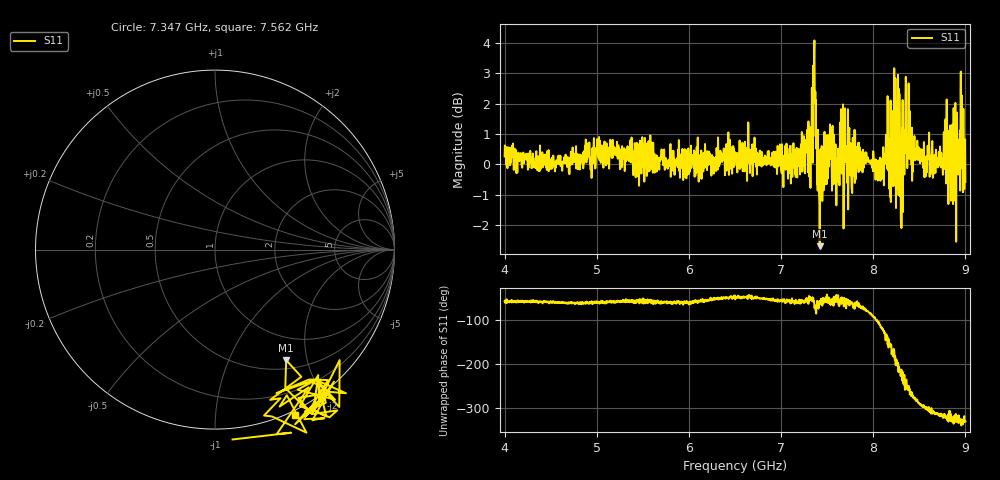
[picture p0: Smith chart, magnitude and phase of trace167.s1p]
! Created with skrf 1.8.0 (http://scikit-rf.org).
# Hz S RI R 50.0
!freq ReS11 ImS11
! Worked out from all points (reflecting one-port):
!   1601 points, 4 GHz to 9 GHz, reference 50 ohm
!   lowest |S11| = -2.7 dB at 7.419 GHz (marker M1), VSWR 6.47, Z = 31.2 - j82.8 ohm
!   phase of S11 starts at -57 deg and turns -273 deg over the sweep
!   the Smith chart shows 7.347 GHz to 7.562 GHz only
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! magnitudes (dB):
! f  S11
! 4 GHz  0.3
! 4.625 GHz  -0.2
! 5.25 GHz  0.1
! 5.875 GHz  0.2
! 6.5 GHz  0.3
! 7.125 GHz  0.6
! 7.306 GHz  -0.4
! 7.359 GHz  3.8
! 7.381 GHz  0.5
! 7.397 GHz  -0.9
! 7.419 GHz  -2.7
! 7.538 GHz  0.6
! 7.609 GHz  0.0
! 7.669 GHz  0.9
! 7.75 GHz  -0.2
! 7.828 GHz  0.2
! 8.072 GHz  -0.2
! 8.188 GHz  2.1
! 8.253 GHz  0.0
! 8.316 GHz  0.9
! 8.334 GHz  0.3
! 8.375 GHz  0.8
! 8.438 GHz  0.3
! 8.556 GHz  -0.4
! 8.788 GHz  -0.3
! 8.875 GHz  0.6
! 8.953 GHz  -0.1
! 9 GHz  -0.6
